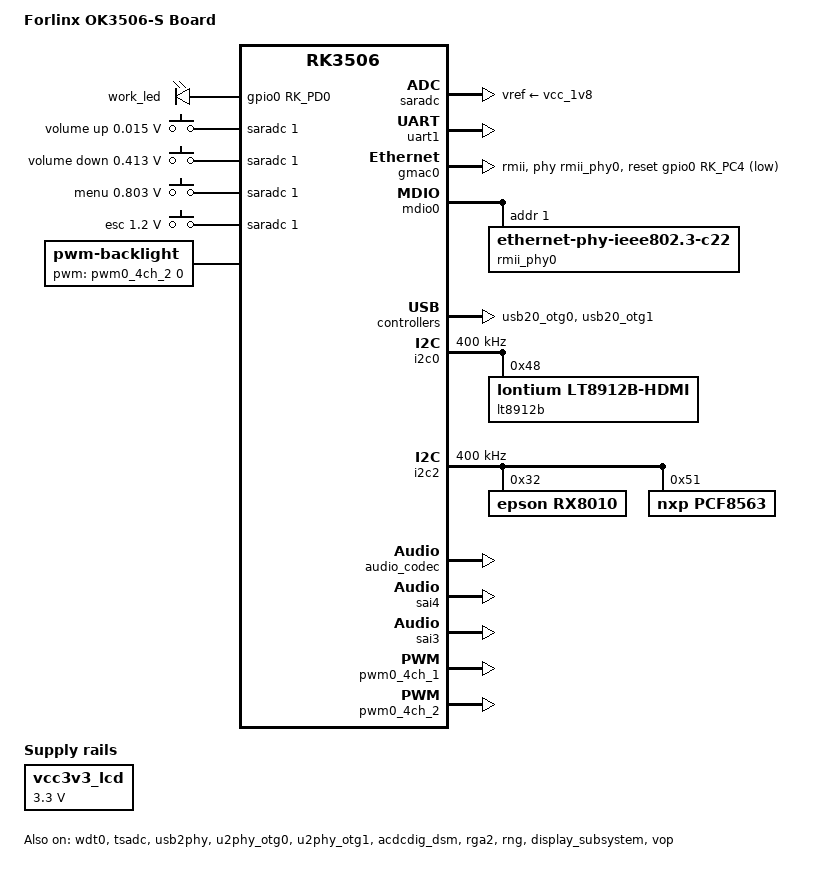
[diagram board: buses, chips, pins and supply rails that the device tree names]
// SPDX-License-Identifier: (GPL-2.0+ OR MIT)
/*
 * Copyright (c) 2024 Rockchip Electronics Co., Ltd.
 */

/dts-v1/;

#include <dt-bindings/input/rk-input.h>
#include <dt-bindings/display/drm_mipi_dsi.h>
#include <dt-bindings/display/rockchip_vop.h>
#include <dt-bindings/display/media-bus-format.h>
#include "rk3506-forlinx-FET3506-S.dtsi"

/ {
	model = "Forlinx OK3506-S Board";
	compatible = "forlinx,ok3506", "rockchip,rk3506";

	forlinx-control {
		status = "disabled";
		disp_type = "mipi";	// mipi or rgb
	};

	acodec_sound: acodec-sound {
		status = "okay";
		compatible = "simple-audio-card";
		simple-audio-card,name = "rockchip,acodec";
		simple-audio-card,format = "i2s";
		simple-audio-card,mclk-fs = <1024>;
		simple-audio-card,bitclock-master = <&codec_master>;
		simple-audio-card,frame-master = <&codec_master>;
		simple-audio-card,cpu {
			sound-dai = <&sai4>;
		};
		codec_master: simple-audio-card,codec {
			sound-dai = <&audio_codec>;
		};
	};

	dsm_sound: dsm-sound {
		status = "okay";
		compatible = "simple-audio-card";
		simple-audio-card,name = "rockchip-dsm-sound";
		simple-audio-card,format = "i2s";
		simple-audio-card,mclk-fs = <256>;
		simple-audio-card,bitclock-master = <&dsm_master>;
		simple-audio-card,frame-master = <&dsm_master>;
		simple-audio-card,cpu {
			sound-dai = <&sai3>;
		};
		dsm_master: simple-audio-card,codec {
			sound-dai = <&acdcdig_dsm>;
		};
	};

	fiq_debugger: fiq-debugger {
		compatible = "rockchip,fiq-debugger";
		rockchip,serial-id = <0>;
		rockchip,wake-irq = <0>;
		rockchip,irq-mode-enable = <1>;
		rockchip,baudrate = <1500000>;	/* Only 115200 and 1500000 */
		interrupts = <GIC_SPI 115 IRQ_TYPE_LEVEL_HIGH>;
	};

	leds: leds {
		compatible = "gpio-leds";
		pinctrl-names = "default";
		pinctrl-0 =<&work_led_gpio>;
		work_led: work {
			gpios = <&gpio0 RK_PD0 GPIO_ACTIVE_HIGH>;
			linux,default-trigger = "heartbeat";
		};
	};

	adc_keys: adc-keys {
		compatible = "adc-keys";
		io-channels = <&saradc 1>;
		io-channel-names = "buttons";
		keyup-threshold-microvolt = <1800000>;
		poll-interval = <100>;

		vol-up-key {
			label = "volume up";
			linux,code = <KEY_VOLUMEUP>;
			press-threshold-microvolt = <15000>;
		};

		vol-down-key {
			label = "volume down";
			linux,code = <KEY_VOLUMEDOWN>;
			press-threshold-microvolt = <413000>;
		};

		menu-key {
			label = "menu";
			linux,code = <KEY_MENU>;
			press-threshold-microvolt = <803000>;
		};

		esc-key {
			label = "esc";
			linux,code = <KEY_ESC>;
			press-threshold-microvolt = <1200000>;
		};
	};

	vcc3v3_lcd: vcc3v3-lcd {
		compatible = "regulator-fixed";
		regulator-name = "vcc3v3_lcd";
		regulator-min-microvolt = <3300000>;
		regulator-max-microvolt = <3300000>;
		regulator-boot-on;
		regulator-always-on;
	};

	rgb_panel: panel {
		compatible = "simple-panel";
		bus-format = <MEDIA_BUS_FMT_RGB888_1X24>;
		backlight = <&backlight>;
		status = "disabled";

		display-timings {
			native-mode = <&rgb_timing>;

			rgb_timing: timing0 {
				clock-frequency = <51200000>;
				hactive = <1024>;
				vactive = <600>;
				hfront-porch = <160>;
				hback-porch = <320>;
				hsync-len = <1>;
				vback-porch = <35>;
				vfront-porch = <12>;
				vsync-len = <1>;
				hsync-active = <0>;
				vsync-active = <0>;
				de-active = <1>;
				pixelclk-active = <1>;
			};
		};

		port {
			panel_in_rgb: endpoint {
				remote-endpoint = <&rgb_out_panel>;
			};
		};
	};

	backlight: backlight {
		compatible = "pwm-backlight";
		pwms = <&pwm0_4ch_2 0 25000 0>;
		brightness-levels = <
			  0  20  20  21  21  22  22  23
			 23  24  24  25  25  26  26  27
			 27  28  28  29  29  30  30  31
			 31  32  32  33  33  34  34  35
			 35  36  36  37  37  38  38  39
			 40  41  42  43  44  45  46  47
			 48  49  50  51  52  53  54  55
			 56  57  58  59  60  61  62  63
			 64  65  66  67  68  69  70  71
			 72  73  74  75  76  77  78  79
			 80  81  82  83  84  85  86  87
			 88  89  90  91  92  93  94  95
			 96  97  98  99 100 101 102 103
			104 105 106 107 108 109 110 111
			112 113 114 115 116 117 118 119
			120 121 122 123 124 125 126 127
			128 129 130 131 132 133 134 135
			136 137 138 139 140 141 142 143
			144 145 146 147 148 149 150 151
			152 153 154 155 156 157 158 159
			160 161 162 163 164 165 166 167
			168 169 170 171 172 173 174 175
			176 177 178 179 180 181 182 183
			184 185 186 187 188 189 190 191
			192 193 194 195 196 197 198 199
			200 201 202 203 204 205 206 207
			208 209 210 211 212 213 214 215
			216 217 218 219 220 221 222 223
			224 225 226 227 228 229 230 231
			232 233 234 235 236 237 238 239
			240 241 242 243 244 245 246 247
			248 249 250 251 252 253 254 255
		>;
		default-brightness-level = <200>;
		status = "okay";
	};
};

&wdt0 {
	status = "okay";
};

&tsadc {
	rockchip,hw-tshut-temp = <125000>;
	status = "okay";
};

&saradc {
	vref-supply = <&vcc_1v8>;
	status = "okay";
};

&spi0 {
	status = "disabled";

	spi@0 {
		compatible = "rockchip,spidev";
		spi-max-frequency = <50000000>;
		reg = <0>;
		status = "disabled";
	};
};

&spi1 {
	status = "disabled";

	spi@0 {
		compatible = "rockchip,spidev";
		spi-max-frequency = <50000000>;
		reg = <0>;
		status = "disabled";
	};
};

&uart1 {
	status = "okay";
	pinctrl-names = "default";
	pinctrl-0 = <&rm_io0_uart1_tx &rm_io1_uart1_rx>;
};

&gmac0 {
	phy-mode = "rmii";
	clock_in_out = "output";

	snps,reset-gpio = <&gpio0 RK_PC4 GPIO_ACTIVE_LOW>;
	snps,reset-active-low;
	snps,reset-delays-us = <0 500000 500000>;

	pinctrl-names = "default";
	pinctrl-0 = <&eth_rmii0_miim_pins
		     &eth_rmii0_tx_bus2_pins
		     &eth_rmii0_rx_bus2_pins
		     &eth_rmii0_clk_pins>;

	phy-handle = <&rmii_phy0>;
	status = "okay";
};

&mdio0 {
	status="okay";
	rmii_phy0: phy@1 {
		compatible = "ethernet-phy-ieee802.3-c22";
		reset-delay-us=<100000>;
		reg = <0x1>;
	};
};

&usb2phy {
	status = "okay";
};

&u2phy_otg0 {
	status = "okay";
};

&usb20_otg0 {
	status = "okay";
};

&u2phy_otg1 {
	status = "okay";
};

&usb20_otg1 {
	status = "okay";
};

&i2c0 {
	clock-frequency = <400000>;
	pinctrl-names = "default";
	pinctrl-0 = <&rm_io12_i2c0_scl &rm_io11_i2c0_sda>;
	status = "okay";

	ft5x06_mipi: ft5x06@38 {
		compatible = "edt,edt-ft5406", "edt,edt-ft5x06";
		reg = <0x38>;
		pinctrl-names = "ft5x06_defaults";
		pinctrl-0 = <&ft5x06_mipi_gpio>;
		reset-gpio = <&gpio4 RK_PB3 GPIO_ACTIVE_LOW>;
		interrupt-parent = <&gpio4>;
		interrupts = <RK_PB2 IRQ_TYPE_EDGE_FALLING>;
		irq-gpio = <&gpio4 RK_PB2 GPIO_ACTIVE_HIGH>;
		touchscreen-size-x = <1024>;
		touchscreen-size-y = <600>;
		status = "disabled";
	};

	gt9xx_rgb: gt9xx-rgb@14 {
		compatible = "goodix,gt928";
		reg = <0x14>;
		pinctrl-names = "ft5x06_defaults";
		pinctrl-0 = <&ft5x06_mipi_gpio>;
		reset-gpio = <&gpio4 RK_PB3 GPIO_ACTIVE_HIGH>;
		interrupt-parent = <&gpio4>;
		interrupts = <RK_PB2 IRQ_TYPE_EDGE_FALLING>;
		irq-gpio = <&gpio4 RK_PB2 GPIO_ACTIVE_HIGH>;
		touchscreen-size-x = <800>;
		touchscreen-size-y = <480>;
		touchscreen-inverted-x;
		touchscreen-inverted-y;
		uniq = "rgb";
		status = "disabled";
	};

	lt8912b: lt8912b@48 {
		compatible = "lontium,lt8912b-hdmi";
		reg = <0x48>;
		status = "okay";
	};
};

&i2c2 {
	clock-frequency = <400000>;
	pinctrl-names = "default";
	pinctrl-0 = <&rm_io4_i2c2_scl &rm_io5_i2c2_sda>;
	status = "okay";

	rx8010: rx8010@32 {
		compatible = "epson,rx8010";
		reg = <0x32>;
		status = "okay";
	};

	pcf8563: pcf8563@51 {
		compatible = "nxp,pcf8563";
		reg = <0x51>;
		status = "okay";
	};
};

&audio_codec {
	status = "okay";
};

&sai4 {
	status = "okay";
};

&acdcdig_dsm {
	status = "okay";
	pinctrl-names = "audm0-iodown", "audm0-pins";
	/delete-property/ pinctrl-2;
	/delete-property/ pinctrl-3;
	/delete-property/ pinctrl-4;
	/delete-property/ pinctrl-5;
};

&sai3 {
	status = "okay";
	/delete-property/ pinctrl-names;
	/delete-property/ pinctrl-0;
};

&cma {
	size = <0x1600000>;
};

&pwm0_4ch_1 {
	pinctrl-names = "default";
	pinctrl-0 = <&rm_io2_pwm0_ch1>;
	status = "okay";
};

&pwm0_4ch_2 {
	pinctrl-names = "active";
	pinctrl-0 = <&rm_io3_pwm0_ch2>;
	status = "okay";
};

&rga2 {
	status = "okay";
};

&rng {
	status = "okay";
};

&display_subsystem {
	logo-memory-region = <&drm_logo>;
	status = "okay";
};

&vop {
	status = "okay";
};

/* DSI */
&dsi_dphy {
	status = "disabled";
};

&vop_out_dsi {
	status = "disabled";
};

&dsi_in_vop {
	status = "disabled";
};

&route_dsi {
	status = "disabled";
};

&dsi {
	status = "disabled";
	dsi_panel: panel@0 {
		compatible = "simple-panel-dsi";
		reg = <0>;
		backlight = <&backlight>;
		prepare-delay-ms = <60>;
		reset-delay-ms = <60>;
		init-delay-ms = <60>;
		disable-delay-ms = <60>;
		unprepare-delay-ms = <60>;
		power-supply = <&vcc3v3_lcd>;

		width-mm = <68>;
		height-mm = <121>;
		bpc = <8>;

		dsi,flags = <(MIPI_DSI_MODE_VIDEO | MIPI_DSI_MODE_VIDEO_BURST |
			      MIPI_DSI_MODE_LPM | MIPI_DSI_MODE_NO_EOT_PACKET)>;
		dsi,format = <MIPI_DSI_FMT_RGB888>;
		dsi,lanes  = <2>;
		panel-init-sequence = [
			15 00 02 b2 10
			15 00 02 80 8b
			15 00 02 81 ff
			15 00 02 82 af
			15 00 02 83 df
			15 00 02 84 97
			15 00 02 85 9c
			15 00 02 86 b9
		];

		panel-exit-sequence = [
		];

		disp_timings0: display-timings {
			native-mode = <&dsi_timing0>;
			dsi_timing0: timing0 {
				clock-frequency = <46000000>;
				hactive = <1024>;
				vactive = <600>;
				hfront-porch = <60>;
				hsync-len = <180>;
				hback-porch = <60>;
				vfront-porch = <5>;
				vsync-len = <2>;
				vback-porch = <10>;
				hsync-active = <0>;
				vsync-active = <0>;
				de-active = <0>;
				pixelclk-active = <0>;
			};
		};

		ports {
			#address-cells = <1>;
			#size-cells = <0>;

			port@0 {
				reg = <0>;
				panel_in_dsi: endpoint {
					remote-endpoint = <&dsi_out_panel>;
				};
			};
		};
	};

	ports {
		#address-cells = <1>;
		#size-cells = <0>;

		port@1 {
			reg = <1>;
			dsi_out_panel: endpoint {
				remote-endpoint = <&panel_in_dsi>;
			};
		};
	};

};

/* RGB */
&rgb {
	status = "disabled";
	pinctrl-names = "default";
	pinctrl-0 = <&rgb_pins>;

	ports {
		rgb_out: port@1 {
			reg = <1>;
			#address-cells = <1>;
			#size-cells = <0>;

			rgb_out_panel: endpoint@0 {
				reg = <0>;
				remote-endpoint = <&panel_in_rgb>;
			};
		};
	};
};

&vop_out_rgb {
	status = "disabled";
};

&rgb_in_vop {
	status = "disabled";
};

&route_rgb {
	status = "disabled";
};

&pinctrl {
	leds_gpio {
        work_led_gpio: work-led-gpio {
            rockchip,pins = <0 RK_PD0 RK_FUNC_GPIO &pcfg_pull_none>;
        };
    };

	touch {
		ft5x06_mipi_gpio: ft5x06-mipi-gpio {
			rockchip,pins = <4 RK_PB3 RK_FUNC_GPIO &pcfg_pull_none>,
							<4 RK_PB2 RK_FUNC_GPIO &pcfg_pull_none>;
		};
	};

	lcd {
		rgb_pins: rgb-pins {
			rockchip,pins =
				/* vo_lcdc_clk */
				<1 RK_PA3 1 &pcfg_pull_none_drv_level_3>,
				/* vo_lcdc_d0 */
				<1 RK_PD3 1 &pcfg_pull_none>,
				/* vo_lcdc_d1 */
				<1 RK_PD2 1 &pcfg_pull_none>,
				/* vo_lcdc_d2 */
				<1 RK_PD1 1 &pcfg_pull_none>,
				/* vo_lcdc_d3 */
				<1 RK_PD0 1 &pcfg_pull_none>,
				/* vo_lcdc_d4 */
				<1 RK_PC7 1 &pcfg_pull_none>,
				/* vo_lcdc_d5 */
				<1 RK_PC6 1 &pcfg_pull_none>,
				/* vo_lcdc_d6 */
				<1 RK_PC5 1 &pcfg_pull_none>,
				/* vo_lcdc_d7 */
				<1 RK_PC4 1 &pcfg_pull_none>,
				/* vo_lcdc_d8 */
				<1 RK_PC3 1 &pcfg_pull_none>,
				/* vo_lcdc_d9 */
				<1 RK_PC2 1 &pcfg_pull_none>,
				/* vo_lcdc_d10 */
				<1 RK_PC1 1 &pcfg_pull_none>,
				/* vo_lcdc_d11 */
				<1 RK_PC0 1 &pcfg_pull_none>,
				/* vo_lcdc_d12 */
				<1 RK_PB7 1 &pcfg_pull_none>,
				/* vo_lcdc_d13 */
				<1 RK_PB6 1 &pcfg_pull_none>,
				/* vo_lcdc_d14 */
				<1 RK_PB5 1 &pcfg_pull_none>,
				/* vo_lcdc_d15 */
				<1 RK_PB4 1 &pcfg_pull_none>,
				/* vo_lcdc_d16 */
				<1 RK_PB3 1 &pcfg_pull_none>,
				/* vo_lcdc_d17 */
				<1 RK_PB2 1 &pcfg_pull_none>,
				/* vo_lcdc_d18 */
				<1 RK_PB1 1 &pcfg_pull_none>,
				/* vo_lcdc_d19 */
				<1 RK_PB0 1 &pcfg_pull_none>,
				/* vo_lcdc_d20 */
				<1 RK_PA7 1 &pcfg_pull_none>,
				/* vo_lcdc_d21 */
				<1 RK_PA6 1 &pcfg_pull_none>,
				/* vo_lcdc_d22 */
				<1 RK_PA5 1 &pcfg_pull_none>,
				/* vo_lcdc_d23 */
				<1 RK_PA4 1 &pcfg_pull_none>,
				/* vo_lcdc_den */
				<1 RK_PA0 1 &pcfg_pull_none>;
		};
	};
};

&soc_crit {
	temperature = <125000>;
};
